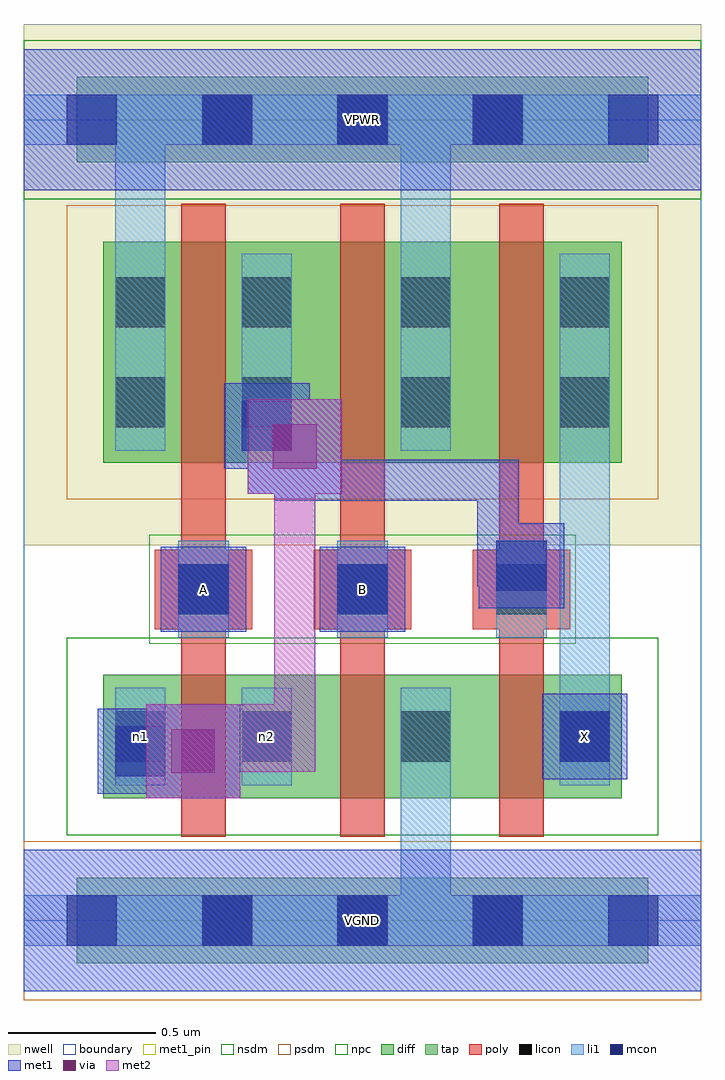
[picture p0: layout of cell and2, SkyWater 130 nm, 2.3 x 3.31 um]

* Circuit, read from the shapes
.subckt and2 A B VGND VPWR X n1 n2
XM1 n2 A n1 VGND sky130_fd_pr__nfet_01v8 w=0.42 l=0.15
XM2 VGND B n2 VGND sky130_fd_pr__nfet_01v8 w=0.42 l=0.15
XM3 X n1 VGND VGND sky130_fd_pr__nfet_01v8 w=0.42 l=0.15
XM4 n1 A VPWR VPWR sky130_fd_pr__pfet_01v8 w=0.75 l=0.15
XM5 VPWR B n1 VPWR sky130_fd_pr__pfet_01v8 w=0.75 l=0.15
XM6 X n1 VPWR VPWR sky130_fd_pr__pfet_01v8 w=0.75 l=0.15
.ends

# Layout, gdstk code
import gdstk
lib = gdstk.Library(unit=1e-6, precision=1e-09)
def R(c, l, rs):  # rectangles x0, y0, x1, y1
    for r in rs: c.add(gdstk.rectangle(r[:2], r[2:], *l))
def A(c, l, x, y, w, h, nx, ny, dx, dy):  # array of equal rectangles
    R(c, l, [(x+i*dx, y+j*dy, x+i*dx+w, y+j*dy+h) for i in range(nx) for j in range(ny)])
nwell = (64, 20)
diff = (65, 20)
tap = (65, 44)
poly = (66, 20)
licon = (66, 44)
li1 = (67, 20)
mcon = (67, 44)
met1_pin = (68, 16)
met1 = (68, 20)
via = (68, 44)
met2 = (69, 20)
nsdm = (93, 44)
psdm = (94, 20)
npc = (95, 20)
boundary = (235, 4)

and2 = lib.new_cell('and2')
R(and2, nwell, [(0,1.275,2.3,3.045)])
R(and2, diff, [(0.27,0.415,2.03,0.835), (0.27,1.555,2.03,2.305)])
R(and2, tap, [(0.18,-0.145,2.12,0.145), (0.18,2.575,2.12,2.865)])
A(and2, poly, 0.535, 0.285, 0.15, 2.15, 3, 1, 0.54, 0)
A(and2, poly, 0.445, 0.99, 0.33, 0.27, 3, 1, 0.54, 0)
A(and2, licon, 0.605, -0.085, 0.17, 0.17, 3, 2, 0.46, 2.72)
A(and2, licon, 0.74, 0.54, 0.17, 0.17, 3, 2, 0.54, 1.135)
A(and2, licon, 0.525, 1.04, 0.17, 0.17, 3, 1, 0.54, 0)
A(and2, licon, 0.74, 2.015, 0.17, 0.17, 3, 1, 0.54, 0)
R(and2, licon, [(0.31,0.54,0.48,0.71), (0.31,1.675,0.48,1.845), (0.31,2.015,0.48,2.185)])
A(and2, li1, 0.74, 0.46, 0.17, 0.33, 3, 1, 0.54, 0)
A(and2, li1, 0.525, 0.96, 0.17, 0.33, 3, 1, 0.54, 0)
A(and2, li1, 0.74, 1.595, 0.17, 0.67, 3, 1, 0.54, 0)
R(and2, li1, [(0,-0.085,2.3,0.085), (1.28,-0.085,1.45,0.79), (0.31,0.46,0.48,0.79), (1.82,0.46,1.99,2.265), (0.31,1.595,0.48,2.265), (0.31,1.595,0.48,2.805), (1.28,1.595,1.45,2.805), (0,2.635,2.3,2.805)])
A(and2, mcon, 0.145, -0.085, 0.17, 0.17, 5, 2, 0.46, 2.72)
R(and2, mcon, [(0.31,0.49,0.48,0.66), (1.82,0.54,1.99,0.71), (0.525,1.04,0.695,1.21), (1.065,1.04,1.235,1.21), (1.605,1.12,1.775,1.29), (0.74,1.595,0.91,1.765)])
R(and2, met1_pin, [(0,-0.24,2.3,0.24), (1.76,0.48,2.05,0.77), (0.465,0.98,0.755,1.27), (1.005,0.98,1.295,1.27), (0,2.48,2.3,2.96)])
R(and2, met1, [(0,-0.24,2.3,0.24), (0.415,0.415,0.735,0.735), (0.25,0.43,0.54,0.72), (1.76,0.48,2.05,0.77), (0.325,0.505,0.645,0.645), (0.465,0.98,0.755,1.27), (1.005,0.98,1.295,1.27), (1.545,1.06,1.835,1.35), (1.54,1.135,1.76,1.275), (1.54,1.135,1.68,1.45), (1.54,1.31,1.68,1.565), (0.85,1.425,0.99,1.75), (0.85,1.425,0.99,1.68), (0.85,1.425,1.68,1.565), (0.76,1.45,1.08,1.77), (0.68,1.535,0.97,1.825), (0.755,1.61,0.99,1.75), (0,2.48,2.3,2.96)])
R(and2, via, [(0.5,0.5,0.65,0.65), (0.845,1.535,0.995,1.685)])
R(and2, met2, [(0.415,0.415,0.735,0.735), (0.505,0.505,0.99,0.645), (0.735,0.505,0.85,0.735), (0.85,0.505,0.99,1.68), (0.76,1.45,1.08,1.77)])
R(and2, nsdm, [(0.145,0.29,2.155,0.96), (0,2.45,2.3,2.99)])
R(and2, psdm, [(0,-0.27,2.3,0.27), (0.145,1.43,2.155,2.43)])
R(and2, npc, [(0.425,0.94,1.875,1.31)])
R(and2, boundary, [(0,0,2.3,2.72)])
and2.add(gdstk.Label('n1', (0.395,0.625), layer=67, texttype=5))
and2.add(gdstk.Label('n2', (0.825,0.625), layer=67, texttype=5))
and2.add(gdstk.Label('A', (0.61,1.125), layer=68, texttype=5))
and2.add(gdstk.Label('B', (1.15,1.125), layer=68, texttype=5))
and2.add(gdstk.Label('X', (1.905,0.625), layer=68, texttype=5))
and2.add(gdstk.Label('VPWR', (1.15,2.72), layer=68, texttype=5))
and2.add(gdstk.Label('VGND', (1.15,0), layer=68, texttype=5))
and2.add(gdstk.Label('A', (0.61,1.125), layer=68, texttype=16))
and2.add(gdstk.Label('B', (1.15,1.125), layer=68, texttype=16))
and2.add(gdstk.Label('X', (1.905,0.625), layer=68, texttype=16))
and2.add(gdstk.Label('VPWR', (1.15,2.72), layer=68, texttype=16))
and2.add(gdstk.Label('VGND', (1.15,0), layer=68, texttype=16))

lib.write_gds('and2.gds')
